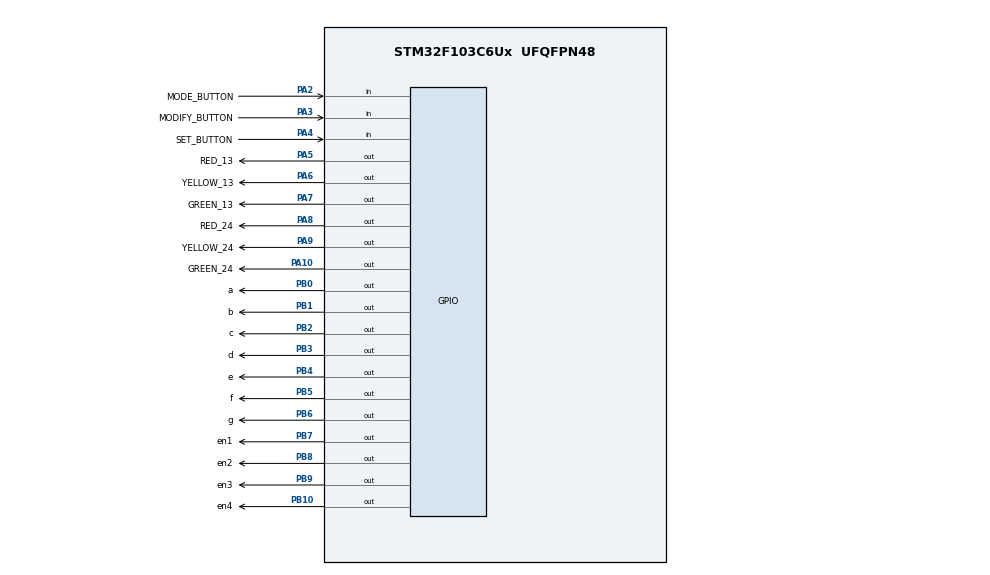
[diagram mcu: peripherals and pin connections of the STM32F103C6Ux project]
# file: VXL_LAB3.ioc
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Mcu.Family=STM32F1
Mcu.Name=STM32F103C6Ux
Mcu.Package=UFQFPN48
NVIC.PriorityGroup=NVIC_PRIORITYGROUP_4
NVIC.TIM2_IRQn=true\:0\:0\:false\:false\:true\:true\:true\:true
PA10.GPIO_Label=GREEN_24
PA10.Signal=GPIO_Output
PA2.GPIO_Label=MODE_BUTTON
PA2.GPIO_PuPd=GPIO_PULLUP
PA2.Signal=GPIO_Input
PA3.GPIO_Label=MODIFY_BUTTON
PA3.GPIO_PuPd=GPIO_PULLUP
PA3.Signal=GPIO_Input
PA4.GPIO_Label=SET_BUTTON
PA4.GPIO_PuPd=GPIO_PULLUP
PA4.Signal=GPIO_Input
PA5.GPIO_Label=RED_13
PA5.Signal=GPIO_Output
PA6.GPIO_Label=YELLOW_13
PA6.Signal=GPIO_Output
PA7.GPIO_Label=GREEN_13
PA7.Signal=GPIO_Output
PA8.GPIO_Label=RED_24
PA8.Signal=GPIO_Output
PA9.GPIO_Label=YELLOW_24
PA9.Signal=GPIO_Output
PB0.GPIO_Label=a
PB0.Signal=GPIO_Output
PB1.GPIO_Label=b
PB1.Signal=GPIO_Output
PB10.GPIO_Label=en4
PB10.Signal=GPIO_Output
PB2.GPIO_Label=c
PB2.Signal=GPIO_Output
PB3.GPIO_Label=d
PB3.Signal=GPIO_Output
PB4.GPIO_Label=e
PB4.Signal=GPIO_Output
PB5.GPIO_Label=f
PB5.Signal=GPIO_Output
PB6.GPIO_Label=g
PB6.Signal=GPIO_Output
PB7.GPIO_Label=en1
PB7.Signal=GPIO_Output
PB8.GPIO_Label=en2
PB8.Signal=GPIO_Output
PB9.GPIO_Label=en3
PB9.Signal=GPIO_Output
ProjectManager.HeapSize=0x200
ProjectManager.StackSize=0x400
ProjectManager.TargetToolchain=STM32CubeIDE
RCC.APB1Freq_Value=8000000
RCC.APB2Freq_Value=8000000
TIM2.Period=9
TIM2.Prescaler=7999
VP_SYS_VS_ND.Mode=No_Debug
VP_TIM2_VS_ClockSourceINT.Mode=Internal
board=custom

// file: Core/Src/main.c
/* USER CODE BEGIN Header */
/**
  ******************************************************************************
  * @file           : main.c
  * @brief          : Main program body
  ******************************************************************************
  * @attention
  *
  * Copyright (c) 2024 STMicroelectronics.
  * All rights reserved.
  *
  * This software is licensed under terms that can be found in the LICENSE file
  * in the root directory of this software component.
  * If no LICENSE file comes with this software, it is provided AS-IS.
  *
  ******************************************************************************
  */
/* USER CODE END Header */
#include "main.h"

/* USER CODE BEGIN Includes */
#include "software_timer.h"
#include "button.h"
#include "global.h"

/* USER CODE END Includes */

TIM_HandleTypeDef htim2;

void SystemClock_Config(void);
static void MX_GPIO_Init(void);
static void MX_TIM2_Init(void);

/* USER CODE BEGIN 0 */
void turnoff_red(){
	HAL_GPIO_WritePin(RED_13_GPIO_Port , RED_13_Pin , GPIO_PIN_SET);
	HAL_GPIO_WritePin(RED_24_GPIO_Port , RED_24_Pin , GPIO_PIN_SET);
}
void turnoff_yellow(){
	HAL_GPIO_WritePin(YELLOW_13_GPIO_Port , YELLOW_13_Pin , GPIO_PIN_SET);
	HAL_GPIO_WritePin(YELLOW_24_GPIO_Port , YELLOW_24_Pin , GPIO_PIN_SET);
}
void turnoff_green(){
	HAL_GPIO_WritePin(GREEN_13_GPIO_Port , GREEN_13_Pin , GPIO_PIN_SET);
	HAL_GPIO_WritePin(GREEN_24_GPIO_Port , GREEN_24_Pin , GPIO_PIN_SET);
}

/* USER CODE END 0 */

int main(void)
{

  /* MCU Configuration--------------------------------------------------------*/

  /* Reset of all peripherals, Initializes the Flash interface and the Systick. */
  HAL_Init();

  /* Configure the system clock */
  SystemClock_Config();

  /* Initialize all configured peripherals */
  MX_GPIO_Init();
  MX_TIM2_Init();
  /* USER CODE BEGIN 2 */
  HAL_TIM_Base_Start_IT(&htim2);

  /* USER CODE END 2 */

  /* Infinite loop */
  /* USER CODE BEGIN WHILE */

  status = 1;
  while (1)
  {
		 fsm_automatic();
		 fsm_manual();
    /* USER CODE END WHILE */

  }
}

void SystemClock_Config(void)
{
  RCC_OscInitTypeDef RCC_OscInitStruct = {0};
  RCC_ClkInitTypeDef RCC_ClkInitStruct = {0};

  /** Initializes the RCC Oscillators according to the specified parameters
  * in the RCC_OscInitTypeDef structure.
  */
  RCC_OscInitStruct.OscillatorType = RCC_OSCILLATORTYPE_HSI;
  RCC_OscInitStruct.HSIState = RCC_HSI_ON;
  RCC_OscInitStruct.HSICalibrationValue = RCC_HSICALIBRATION_DEFAULT;
  RCC_OscInitStruct.PLL.PLLState = RCC_PLL_NONE;
  if (HAL_RCC_OscConfig(&RCC_OscInitStruct) != HAL_OK)
  {
    Error_Handler();
  }

  /** Initializes the CPU, AHB and APB buses clocks
  */
  RCC_ClkInitStruct.ClockType = RCC_CLOCKTYPE_HCLK|RCC_CLOCKTYPE_SYSCLK
                              |RCC_CLOCKTYPE_PCLK1|RCC_CLOCKTYPE_PCLK2;
  RCC_ClkInitStruct.SYSCLKSource = RCC_SYSCLKSOURCE_HSI;
  RCC_ClkInitStruct.AHBCLKDivider = RCC_SYSCLK_DIV1;
  RCC_ClkInitStruct.APB1CLKDivider = RCC_HCLK_DIV1;
  RCC_ClkInitStruct.APB2CLKDivider = RCC_HCLK_DIV1;

  if (HAL_RCC_ClockConfig(&RCC_ClkInitStruct, FLASH_LATENCY_0) != HAL_OK)
  {
    Error_Handler();
  }
}

static void MX_TIM2_Init(void)
{

  TIM_ClockConfigTypeDef sClockSourceConfig = {0};
  TIM_MasterConfigTypeDef sMasterConfig = {0};

  htim2.Instance = TIM2;
  htim2.Init.Prescaler = 7999;
  htim2.Init.CounterMode = TIM_COUNTERMODE_UP;
  htim2.Init.Period = 9;
  htim2.Init.ClockDivision = TIM_CLOCKDIVISION_DIV1;
  htim2.Init.AutoReloadPreload = TIM_AUTORELOAD_PRELOAD_DISABLE;
  if (HAL_TIM_Base_Init(&htim2) != HAL_OK)
  {
    Error_Handler();
  }
  sClockSourceConfig.ClockSource = TIM_CLOCKSOURCE_INTERNAL;
  if (HAL_TIM_ConfigClockSource(&htim2, &sClockSourceConfig) != HAL_OK)
  {
    Error_Handler();
  }
  sMasterConfig.MasterOutputTrigger = TIM_TRGO_RESET;
  sMasterConfig.MasterSlaveMode = TIM_MASTERSLAVEMODE_DISABLE;
  if (HAL_TIMEx_MasterConfigSynchronization(&htim2, &sMasterConfig) != HAL_OK)
  {
    Error_Handler();
  }

}

static void MX_GPIO_Init(void)
{
  GPIO_InitTypeDef GPIO_InitStruct = {0};

  /* GPIO Ports Clock Enable */
  __HAL_RCC_GPIOA_CLK_ENABLE();
  __HAL_RCC_GPIOB_CLK_ENABLE();

  /*Configure GPIO pin Output Level */
  HAL_GPIO_WritePin(GPIOA, RED_13_Pin|YELLOW_13_Pin|GREEN_13_Pin|RED_24_Pin
                          |YELLOW_24_Pin|GREEN_24_Pin, GPIO_PIN_RESET);

  /*Configure GPIO pin Output Level */
  HAL_GPIO_WritePin(GPIOB, a_Pin|b_Pin|c_Pin|en4_Pin
                          |d_Pin|e_Pin|f_Pin|g_Pin
                          |en1_Pin|en2_Pin|en3_Pin, GPIO_PIN_RESET);

  /*Configure GPIO pins : MODE_BUTTON_Pin MODIFY_BUTTON_Pin SET_BUTTON_Pin */
  GPIO_InitStruct.Pin = MODE_BUTTON_Pin|MODIFY_BUTTON_Pin|SET_BUTTON_Pin;
  GPIO_InitStruct.Mode = GPIO_MODE_INPUT;
  GPIO_InitStruct.Pull = GPIO_PULLUP;
  HAL_GPIO_Init(GPIOA, &GPIO_InitStruct);

  /*Configure GPIO pins : RED_13_Pin YELLOW_13_Pin GREEN_13_Pin RED_24_Pin
                           YELLOW_24_Pin GREEN_24_Pin */
  GPIO_InitStruct.Pin = RED_13_Pin|YELLOW_13_Pin|GREEN_13_Pin|RED_24_Pin
                          |YELLOW_24_Pin|GREEN_24_Pin;
  GPIO_InitStruct.Mode = GPIO_MODE_OUTPUT_PP;
  GPIO_InitStruct.Pull = GPIO_NOPULL;
  GPIO_InitStruct.Speed = GPIO_SPEED_FREQ_LOW;
  HAL_GPIO_Init(GPIOA, &GPIO_InitStruct);

  /*Configure GPIO pins : a_Pin b_Pin c_Pin en4_Pin
                           d_Pin e_Pin f_Pin g_Pin
                           en1_Pin en2_Pin en3_Pin */
  GPIO_InitStruct.Pin = a_Pin|b_Pin|c_Pin|en4_Pin
                          |d_Pin|e_Pin|f_Pin|g_Pin
                          |en1_Pin|en2_Pin|en3_Pin;
  GPIO_InitStruct.Mode = GPIO_MODE_OUTPUT_PP;
  GPIO_InitStruct.Pull = GPIO_NOPULL;
  GPIO_InitStruct.Speed = GPIO_SPEED_FREQ_LOW;
  HAL_GPIO_Init(GPIOB, &GPIO_InitStruct);

}

void HAL_TIM_PeriodElapsedCallback(TIM_HandleTypeDef *htim){
	timerRun();
	getKeyInput();
}

void Error_Handler(void)
{
  __disable_irq();
  while (1)
  {
  }
}
